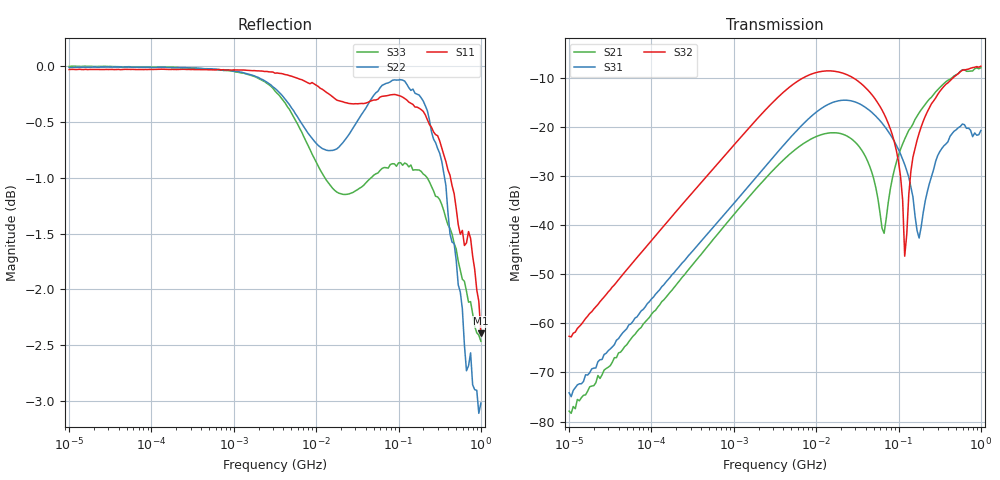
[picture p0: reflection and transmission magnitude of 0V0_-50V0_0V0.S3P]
!Keysight Technologies,E5080A,MY55100144,A.11.70.03
!Date: Monday, November 13, 2017 17:21:30
!Correction: S11(Full 3 Port(1,2,3))
!S12(Full 3 Port(1,2,3))
!S13(Full 3 Port(1,2,3))
!S21(Full 3 Port(1,2,3))
!S22(Full 3 Port(1,2,3))
!S23(Full 3 Port(1,2,3))
!S31(Full 3 Port(1,2,3))
!S32(Full 3 Port(1,2,3))
!S33(Full 3 Port(1,2,3))
!S3P File: Measurements: <S11,S12,S13>,
!<S21,S22,S23>,
!<S31,S32,S33>:Log Frequency Sweep
# Hz S  RI  R 50
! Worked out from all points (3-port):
!   201 points, 10 kHz to 1 GHz, reference 50 ohm
!   strongest paths, dB at 10 kHz, 177.8 kHz, 3.162 MHz, 56.23 MHz, 1 GHz:
!     S32: -62.6, -38.2, -14.6, -15.2, -7.7
!     S31: -74.1, -50.1, -25.8, -18.3, -20.8
!     S21: -77.9, -53.2, -28.5, -34.7, -8.0
!   lowest |S11| = -2.4 dB at 1 GHz (marker M1), VSWR 7.30, Z = 365 + j15.1 ohm
!   |S11| at or under -10 dB: nowhere
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10000  0.9967 -0.000921  -8.54e-07 0.000144  1.52e-05 0.000168
       -2.05e-06 0.000128  0.9989 -0.00335  -1.07e-05 0.000688
       5.02e-06 0.000196  5.05e-06 0.000737  0.9998 -0.00236
3162278  0.9227 -0.3669  0.0161 0.0342  0.0144 0.0494
         0.016 0.0342  0.7017 -0.6806  0.0959 0.1602
         0.0143 0.0494  0.0961 0.1601  0.9349 -0.2761
1.496236e7  0.0872 -0.9667  0.0857 0.0129  0.1627 0.0599
            0.0858 0.0128  -0.527 -0.7501  0.3695 -0.0242
            0.1628 0.0598  0.3694 -0.0241  0.415 -0.7803
4.731513e7  -0.8181 -0.5121  0.026 -0.0228  0.096 -0.1023
            0.0259 -0.0228  -0.9525 -0.1707  0.1106 -0.1819
            0.0959 -0.1024  0.1105 -0.1818  -0.5336 -0.7146
6.683439e7  -0.9261 -0.2874  0.00707 0.00435  0.0441 -0.0925
            0.00698 0.00435  -0.9812 0.0239  0.037 -0.1296
            0.044 -0.0925  0.037 -0.1295  -0.7438 -0.5082
1e8  -0.9698 -0.0329  0.00752 0.0509  0.00825 -0.058
     0.00757 0.0509  -0.9496 0.2653  -0.000478 -0.044
     0.00824 -0.058  -0.000352 -0.0439  -0.8753 -0.2307
1.188502e8  -0.9642 0.0781  0.0181 0.0725  0.00187 -0.0412
            0.0182 0.0726  -0.9099 0.3768  -0.000574 -0.0048
            0.00179 -0.0412  -0.000577 -0.00479  -0.8986 -0.1071
1.778279e8  -0.8943 0.3426  0.0709 0.1192  0.00643 -0.00371
            0.071 0.1192  -0.7339 0.6354  0.0407 0.0758
            0.00641 -0.00365  0.0406 0.0757  -0.8797 0.183
3.758374e8  -0.4216 0.8024  0.2823 0.0499  0.0666 -0.00685
            0.2825 0.0497  0.069 0.8816  0.2633 0.0624
            0.0664 -0.00687  0.2632 0.0624  -0.5082 0.6873
1e9  0.7591 0.00878  -0.0928 -0.3875  -0.0566 -0.0718
     -0.0933 -0.3877  0.5909 -0.3872  -0.0445 -0.411
     -0.0567 -0.072  -0.0442 -0.4111  0.6861 0.3102
